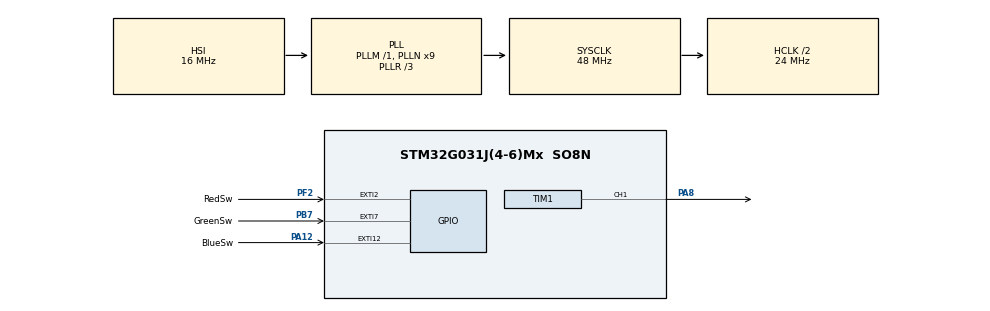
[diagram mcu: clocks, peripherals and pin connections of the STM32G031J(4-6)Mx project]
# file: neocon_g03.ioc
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Dma.Request0=TIM1_CH1
Dma.TIM1_CH1.0.Direction=DMA_MEMORY_TO_PERIPH
Dma.TIM1_CH1.0.EventEnable=DISABLE
Dma.TIM1_CH1.0.Instance=DMA1_Channel1
Dma.TIM1_CH1.0.MemDataAlignment=DMA_MDATAALIGN_HALFWORD
Dma.TIM1_CH1.0.MemInc=DMA_MINC_ENABLE
Dma.TIM1_CH1.0.Mode=DMA_NORMAL
Dma.TIM1_CH1.0.PeriphDataAlignment=DMA_PDATAALIGN_HALFWORD
Dma.TIM1_CH1.0.PeriphInc=DMA_PINC_DISABLE
Dma.TIM1_CH1.0.Polarity=HAL_DMAMUX_REQ_GEN_RISING
Dma.TIM1_CH1.0.Priority=DMA_PRIORITY_HIGH
Dma.TIM1_CH1.0.RequestNumber=1
Dma.TIM1_CH1.0.SignalID=NONE
Dma.TIM1_CH1.0.SyncEnable=DISABLE
Dma.TIM1_CH1.0.SyncPolarity=HAL_DMAMUX_SYNC_NO_EVENT
Dma.TIM1_CH1.0.SyncRequestNumber=1
Dma.TIM1_CH1.0.SyncSignalID=NONE
Mcu.Family=STM32G0
Mcu.Name=STM32G031J(4-6)Mx
Mcu.Package=SO8N
NVIC.DMA1_Channel1_IRQn=true\:0\:0\:false\:false\:true\:false\:true\:true
NVIC.EXTI2_3_IRQn=true\:1\:0\:true\:false\:true\:true\:true\:true
NVIC.EXTI4_15_IRQn=true\:1\:0\:true\:false\:true\:true\:true\:true
PA12\ [PA10].GPIO_Label=BlueSw
PA12\ [PA10].GPIO_ModeDefaultEXTI=GPIO_MODE_IT_FALLING
PA12\ [PA10].GPIO_PuPd=GPIO_PULLUP
PA12\ [PA10].Signal=GPXTI12
PA13.Mode=Serial_Wire
PA13.Signal=SYS_SWDIO
PA14-BOOT0.Mode=Serial_Wire
PA14-BOOT0.Signal=SYS_SWCLK
PA14-BOOT0__PA15__PB5__PB6.StandardMode=true
PA8.GPIO_Speed=GPIO_SPEED_FREQ_HIGH
PA8.Signal=S_TIM1_CH1
PB0__PB1__PA8__PA11\ [PA9].StandardMode=true
PB7.GPIO_Label=GreenSw
PB7.GPIO_ModeDefaultEXTI=GPIO_MODE_IT_FALLING
PB7.GPIO_PuPd=GPIO_PULLUP
PB7.Signal=GPXTI7
PC14-OSC32_IN\ (PC14)__PB7__PB8__PB9.StandardMode=true
PF2\ -\ NRST.GPIO_Label=RedSw
PF2\ -\ NRST.GPIO_ModeDefaultEXTI=GPIO_MODE_IT_FALLING
PF2\ -\ NRST.GPIO_PuPd=GPIO_PULLUP
PF2\ -\ NRST.Signal=GPXTI2
PF2\ -\ NRST__PA0__PA1__PA2.StandardMode=true
ProjectManager.HeapSize=0x200
ProjectManager.StackSize=0x400
ProjectManager.TargetToolchain=STM32CubeIDE
RCC.ADCFreq_Value=48000000
RCC.AHBCLKDivider=RCC_SYSCLK_DIV2
RCC.AHBFreq_Value=24000000
RCC.CortexFreq_Value=24000000
RCC.EXTERNAL_CLOCK_VALUE=12288000
RCC.HCLKFreq_Value=24000000
RCC.HSE_VALUE=8000000
RCC.HSI_VALUE=16000000
RCC.LSE_VALUE=32768
RCC.PLLN=9
RCC.PLLR=RCC_PLLR_DIV3
RCC.SYSCLKFreq_VALUE=48000000
RCC.SYSCLKSource=RCC_SYSCLKSOURCE_PLLCLK
RCC.VCOOutputFreq_Value=144000000
SH.S_TIM1_CH1.0=TIM1_CH1,PWM Generation1 CH1
TIM1.Channel-PWM\ Generation1\ CH1=TIM_CHANNEL_1
TIM1.Period=30-1
VP_TIM1_VS_ClockSourceINT.Mode=Internal
board=custom

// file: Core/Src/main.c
/* USER CODE BEGIN Header */
/**
  ******************************************************************************
  * @file           : main.c
  * @brief          : Main program body
  ******************************************************************************
  * @attention
  *
  * Copyright (c) 2024 STMicroelectronics.
  * All rights reserved.
  *
  * This software is licensed under terms that can be found in the LICENSE file
  * in the root directory of this software component.
  * If no LICENSE file comes with this software, it is provided AS-IS.
  *
  ******************************************************************************
  */
/* USER CODE END Header */
#include "main.h"

/* USER CODE BEGIN Includes */
#include "neopixel.h"

/* USER CODE END Includes */

TIM_HandleTypeDef htim1;
DMA_HandleTypeDef hdma_tim1_ch1;

void SystemClock_Config(void);
static void MX_GPIO_Init(void);
static void MX_DMA_Init(void);
static void MX_TIM1_Init(void);

/* USER CODE BEGIN 0 */
volatile uint8_t datasentflag;
uint32_t current_tick_1;
uint32_t current_tick_2;
uint32_t current_tick_3;
uint32_t old_tick_1;
uint32_t old_tick_2;
uint32_t old_tick_3;
uint8_t lux = 0;
uint8_t point = 0;
uint8_t type = 0;
uint16_t HueSeed[MAX_LED];

void HAL_TIM_PWM_PulseFinishedCallback(TIM_HandleTypeDef *htim)
{
	HAL_TIM_PWM_Stop_DMA(&htim1, TIM_CHANNEL_1);
	datasentflag=1;
}
void HAL_GPIO_EXTI_Falling_Callback(uint16_t GPIO_Pin)
{
	if(GPIO_Pin == RedSw_Pin)
	{
		current_tick_1 = HAL_GetTick();
	}
	if(GPIO_Pin == GreenSw_Pin)
	{
		current_tick_2 = HAL_GetTick();
	}
	if(GPIO_Pin == BlueSw_Pin)
	{
		current_tick_3 = HAL_GetTick();
	}
	if(GPIO_Pin == (RedSw_Pin) && (current_tick_1 - old_tick_1 > 300))
	{
		lux += 2;
		if(lux >= 7)
		{
			lux = 0;
		}
		old_tick_1 = current_tick_1;
	}
	if(GPIO_Pin == (GreenSw_Pin) && (current_tick_2 - old_tick_2 > 300))
	{
		point++;
		if(point >= 3)
		{
			point = 0;
		}
		old_tick_2 = current_tick_2;
	}
	if(GPIO_Pin == (BlueSw_Pin) && (current_tick_3 - old_tick_3 > 300))
	{
		type++;
		if(type >= 6)
		{
			type = 0;
		}
		old_tick_3 = current_tick_3;
	}
}
/* USER CODE END 0 */

int main(void)
{
  /* USER CODE BEGIN 1 */
	uint32_t color[MAX_LED];
	uint8_t i;
  /* USER CODE END 1 */

  /* MCU Configuration--------------------------------------------------------*/

  /* Reset of all peripherals, Initializes the Flash interface and the Systick. */
  HAL_Init();

  /* Configure the system clock */
  SystemClock_Config();

  /* Initialize all configured peripherals */
  MX_GPIO_Init();
  MX_DMA_Init();
  MX_TIM1_Init();
  /* USER CODE BEGIN 2 */
	RGB_Generate();

  /* USER CODE END 2 */

  /* Infinite loop */
  while (1)
  {

    /* USER CODE BEGIN 3 */
	uint32_t(*colmod[6])(uint16_t) =
	{HSV_Rainbow,Neon,Cranberry,Blueberry,Muscat,HSV_Pastel};
	for(i = 0; i < MAX_LED; i++)
	{
		Rainbow_Circle(i);
		color[i] = (*colmod[type])(HueSeed[i]);
		HAL_Delay(1);
	}
	WS2812_Send(color);
  }
  /* USER CODE END 3 */
}

void SystemClock_Config(void)
{
  RCC_OscInitTypeDef RCC_OscInitStruct = {0};
  RCC_ClkInitTypeDef RCC_ClkInitStruct = {0};

  /** Configure the main internal regulator output voltage
  */
  HAL_PWREx_ControlVoltageScaling(PWR_REGULATOR_VOLTAGE_SCALE1);

  /** Initializes the RCC Oscillators according to the specified parameters
  * in the RCC_OscInitTypeDef structure.
  */
  RCC_OscInitStruct.OscillatorType = RCC_OSCILLATORTYPE_HSI;
  RCC_OscInitStruct.HSIState = RCC_HSI_ON;
  RCC_OscInitStruct.HSIDiv = RCC_HSI_DIV1;
  RCC_OscInitStruct.HSICalibrationValue = RCC_HSICALIBRATION_DEFAULT;
  RCC_OscInitStruct.PLL.PLLState = RCC_PLL_ON;
  RCC_OscInitStruct.PLL.PLLSource = RCC_PLLSOURCE_HSI;
  RCC_OscInitStruct.PLL.PLLM = RCC_PLLM_DIV1;
  RCC_OscInitStruct.PLL.PLLN = 9;
  RCC_OscInitStruct.PLL.PLLP = RCC_PLLP_DIV2;
  RCC_OscInitStruct.PLL.PLLQ = RCC_PLLQ_DIV2;
  RCC_OscInitStruct.PLL.PLLR = RCC_PLLR_DIV3;
  if (HAL_RCC_OscConfig(&RCC_OscInitStruct) != HAL_OK)
  {
    Error_Handler();
  }

  /** Initializes the CPU, AHB and APB buses clocks
  */
  RCC_ClkInitStruct.ClockType = RCC_CLOCKTYPE_HCLK|RCC_CLOCKTYPE_SYSCLK
                              |RCC_CLOCKTYPE_PCLK1;
  RCC_ClkInitStruct.SYSCLKSource = RCC_SYSCLKSOURCE_PLLCLK;
  RCC_ClkInitStruct.AHBCLKDivider = RCC_SYSCLK_DIV2;
  RCC_ClkInitStruct.APB1CLKDivider = RCC_HCLK_DIV1;

  if (HAL_RCC_ClockConfig(&RCC_ClkInitStruct, FLASH_LATENCY_0) != HAL_OK)
  {
    Error_Handler();
  }
}

static void MX_TIM1_Init(void)
{

  TIM_ClockConfigTypeDef sClockSourceConfig = {0};
  TIM_MasterConfigTypeDef sMasterConfig = {0};
  TIM_OC_InitTypeDef sConfigOC = {0};
  TIM_BreakDeadTimeConfigTypeDef sBreakDeadTimeConfig = {0};

  htim1.Instance = TIM1;
  htim1.Init.Prescaler = 0;
  htim1.Init.CounterMode = TIM_COUNTERMODE_UP;
  htim1.Init.Period = 30-1;
  htim1.Init.ClockDivision = TIM_CLOCKDIVISION_DIV1;
  htim1.Init.RepetitionCounter = 0;
  htim1.Init.AutoReloadPreload = TIM_AUTORELOAD_PRELOAD_DISABLE;
  if (HAL_TIM_Base_Init(&htim1) != HAL_OK)
  {
    Error_Handler();
  }
  sClockSourceConfig.ClockSource = TIM_CLOCKSOURCE_INTERNAL;
  if (HAL_TIM_ConfigClockSource(&htim1, &sClockSourceConfig) != HAL_OK)
  {
    Error_Handler();
  }
  if (HAL_TIM_PWM_Init(&htim1) != HAL_OK)
  {
    Error_Handler();
  }
  sMasterConfig.MasterOutputTrigger = TIM_TRGO_RESET;
  sMasterConfig.MasterOutputTrigger2 = TIM_TRGO2_RESET;
  sMasterConfig.MasterSlaveMode = TIM_MASTERSLAVEMODE_DISABLE;
  if (HAL_TIMEx_MasterConfigSynchronization(&htim1, &sMasterConfig) != HAL_OK)
  {
    Error_Handler();
  }
  sConfigOC.OCMode = TIM_OCMODE_PWM1;
  sConfigOC.Pulse = 0;
  sConfigOC.OCPolarity = TIM_OCPOLARITY_HIGH;
  sConfigOC.OCNPolarity = TIM_OCNPOLARITY_HIGH;
  sConfigOC.OCFastMode = TIM_OCFAST_DISABLE;
  sConfigOC.OCIdleState = TIM_OCIDLESTATE_RESET;
  sConfigOC.OCNIdleState = TIM_OCNIDLESTATE_RESET;
  if (HAL_TIM_PWM_ConfigChannel(&htim1, &sConfigOC, TIM_CHANNEL_1) != HAL_OK)
  {
    Error_Handler();
  }
  sBreakDeadTimeConfig.OffStateRunMode = TIM_OSSR_DISABLE;
  sBreakDeadTimeConfig.OffStateIDLEMode = TIM_OSSI_DISABLE;
  sBreakDeadTimeConfig.LockLevel = TIM_LOCKLEVEL_OFF;
  sBreakDeadTimeConfig.DeadTime = 0;
  sBreakDeadTimeConfig.BreakState = TIM_BREAK_DISABLE;
  sBreakDeadTimeConfig.BreakPolarity = TIM_BREAKPOLARITY_HIGH;
  sBreakDeadTimeConfig.BreakFilter = 0;
  sBreakDeadTimeConfig.BreakAFMode = TIM_BREAK_AFMODE_INPUT;
  sBreakDeadTimeConfig.Break2State = TIM_BREAK2_DISABLE;
  sBreakDeadTimeConfig.Break2Polarity = TIM_BREAK2POLARITY_HIGH;
  sBreakDeadTimeConfig.Break2Filter = 0;
  sBreakDeadTimeConfig.Break2AFMode = TIM_BREAK_AFMODE_INPUT;
  sBreakDeadTimeConfig.AutomaticOutput = TIM_AUTOMATICOUTPUT_DISABLE;
  if (HAL_TIMEx_ConfigBreakDeadTime(&htim1, &sBreakDeadTimeConfig) != HAL_OK)
  {
    Error_Handler();
  }
  HAL_TIM_MspPostInit(&htim1);

}

static void MX_DMA_Init(void)
{

  /* DMA controller clock enable */
  __HAL_RCC_DMA1_CLK_ENABLE();

  /* DMA interrupt init */
  /* DMA1_Channel1_IRQn interrupt configuration */
  HAL_NVIC_SetPriority(DMA1_Channel1_IRQn, 0, 0);
  HAL_NVIC_EnableIRQ(DMA1_Channel1_IRQn);

}

static void MX_GPIO_Init(void)
{
  GPIO_InitTypeDef GPIO_InitStruct = {0};

  /* GPIO Ports Clock Enable */
  __HAL_RCC_GPIOB_CLK_ENABLE();
  __HAL_RCC_GPIOF_CLK_ENABLE();
  __HAL_RCC_GPIOA_CLK_ENABLE();

  /*Configure GPIO pin : GreenSw_Pin */
  GPIO_InitStruct.Pin = GreenSw_Pin;
  GPIO_InitStruct.Mode = GPIO_MODE_IT_FALLING;
  GPIO_InitStruct.Pull = GPIO_PULLUP;
  HAL_GPIO_Init(GreenSw_GPIO_Port, &GPIO_InitStruct);

  /*Configure GPIO pin : RedSw_Pin */
  GPIO_InitStruct.Pin = RedSw_Pin;
  GPIO_InitStruct.Mode = GPIO_MODE_IT_FALLING;
  GPIO_InitStruct.Pull = GPIO_PULLUP;
  HAL_GPIO_Init(RedSw_GPIO_Port, &GPIO_InitStruct);

  /*Configure GPIO pin : BlueSw_Pin */
  GPIO_InitStruct.Pin = BlueSw_Pin;
  GPIO_InitStruct.Mode = GPIO_MODE_IT_FALLING;
  GPIO_InitStruct.Pull = GPIO_PULLUP;
  HAL_GPIO_Init(BlueSw_GPIO_Port, &GPIO_InitStruct);

  /* EXTI interrupt init*/
  HAL_NVIC_SetPriority(EXTI2_3_IRQn, 1, 0);
  HAL_NVIC_EnableIRQ(EXTI2_3_IRQn);

  HAL_NVIC_SetPriority(EXTI4_15_IRQn, 1, 0);
  HAL_NVIC_EnableIRQ(EXTI4_15_IRQn);

}

void Error_Handler(void)
{
  __disable_irq();
  while (1)
  {
  }
}
